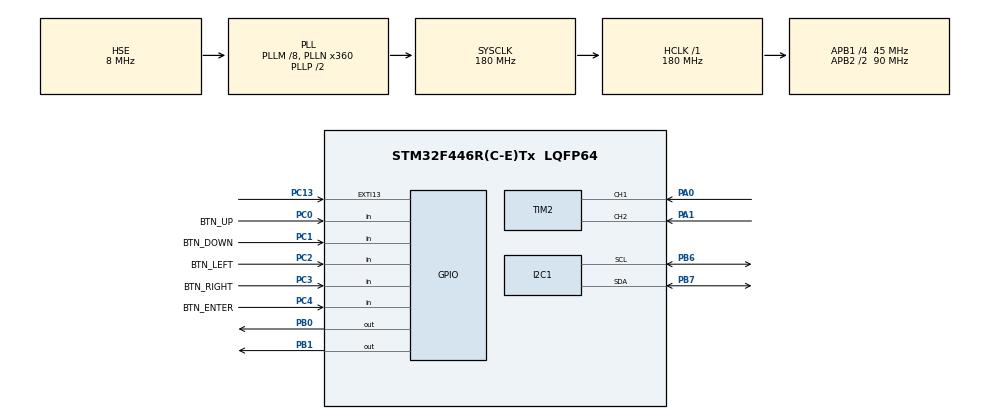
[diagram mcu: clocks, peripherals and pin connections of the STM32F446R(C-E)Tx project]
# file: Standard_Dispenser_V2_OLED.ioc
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I2C1.I2C_Mode=I2C_Fast
Mcu.Family=STM32F4
Mcu.Name=STM32F446R(C-E)Tx
Mcu.Package=LQFP64
NVIC.EXTI15_10_IRQn=true\:0\:0\:false\:false\:true\:true\:true\:true
NVIC.PriorityGroup=NVIC_PRIORITYGROUP_4
NVIC.TIM6_DAC_IRQn=true\:1\:0\:true\:false\:true\:true\:true\:true
PA0-WKUP.Signal=S_TIM2_CH1_ETR
PA1.Signal=S_TIM2_CH2
PA13.Mode=Serial_Wire
PA13.Signal=SYS_JTMS-SWDIO
PA14.Mode=Serial_Wire
PA14.Signal=SYS_JTCK-SWCLK
PB0.Signal=GPIO_Output
PB1.Signal=GPIO_Output
PB6.Mode=I2C
PB6.Signal=I2C1_SCL
PB7.Mode=I2C
PB7.Signal=I2C1_SDA
PC0.GPIO_Label=BTN_UP
PC0.GPIO_PuPd=GPIO_PULLUP
PC0.Signal=GPIO_Input
PC1.GPIO_Label=BTN_DOWN
PC1.GPIO_PuPd=GPIO_PULLUP
PC1.Signal=GPIO_Input
PC13.Signal=GPXTI13
PC2.GPIO_Label=BTN_LEFT
PC2.GPIO_PuPd=GPIO_PULLUP
PC2.Signal=GPIO_Input
PC3.GPIO_Label=BTN_RIGHT
PC3.GPIO_PuPd=GPIO_PULLUP
PC3.Signal=GPIO_Input
PC4.GPIO_Label=BTN_ENTER
PC4.GPIO_PuPd=GPIO_PULLUP
PC4.Signal=GPIO_Input
PH0-OSC_IN.Mode=HSE-External-Oscillator
PH0-OSC_IN.Signal=RCC_OSC_IN
PH1-OSC_OUT.Mode=HSE-External-Oscillator
PH1-OSC_OUT.Signal=RCC_OSC_OUT
ProjectManager.HeapSize=0x200
ProjectManager.StackSize=0x400
ProjectManager.TargetToolchain=STM32CubeIDE
RCC.AHBFreq_Value=180000000
RCC.APB1CLKDivider=RCC_HCLK_DIV4
RCC.APB1Freq_Value=45000000
RCC.APB1TimFreq_Value=90000000
RCC.APB2CLKDivider=RCC_HCLK_DIV2
RCC.APB2Freq_Value=90000000
RCC.APB2TimFreq_Value=180000000
RCC.CortexFreq_Value=180000000
RCC.HCLKFreq_Value=180000000
RCC.HSE_VALUE=8000000
RCC.PLLM=8
RCC.PLLN=360
RCC.PLLSourceVirtual=RCC_PLLSOURCE_HSE
RCC.SYSCLKFreq_VALUE=180000000
RCC.SYSCLKSource=RCC_SYSCLKSOURCE_PLLCLK
RCC.USBFreq_Value=180000000
RCC.VCOOutputFreq_Value=360000000
SH.S_TIM2_CH1_ETR.0=TIM2_CH1,Encoder_Interface
SH.S_TIM2_CH2.0=TIM2_CH2,Encoder_Interface
TIM2.EncoderMode=TIM_ENCODERMODE_TI12
TIM2.IC1Filter=10
TIM2.IC2Filter=10
TIM6.Period=9
TIM6.Prescaler=8999
VP_TIM6_VS_ClockSourceINT.Mode=Enable_Timer
board=custom

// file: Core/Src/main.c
/* USER CODE BEGIN Header */
/**
  ******************************************************************************
  * @file           : main.c
  * @brief          : Main program body
  ******************************************************************************
  * @attention
  *
  * Copyright (c) 2026 STMicroelectronics.
  * All rights reserved.
  *
  * This software is licensed under terms that can be found in the LICENSE file
  * in the root directory of this software component.
  * If no LICENSE file comes with this software, it is provided AS-IS.
  *
  ******************************************************************************
  */
/* USER CODE END Header */
#include "main.h"

/* USER CODE BEGIN Includes */
#include <stdio.h>
#include <stdlib.h>
#include <string.h>
#include "oled.h"
/* USER CODE END Includes */

/* USER CODE BEGIN PTD */
typedef enum { ST_IDLE, ST_JOG, ST_MOVING, ST_SETTLE, ST_COAST } run_state_t;
typedef enum { EVT_NONE, EVT_ARRIVED, EVT_STALL, EVT_ABORT } run_evt_t;

typedef struct {                 /* one editable number */
  const char *label;
  const char *unit;
  uint8_t  nd;                   /* number of digits shown while editing */
  uint8_t  dec;                  /* how many of them are after the decimal point */
  uint32_t val;                  /* value without the decimal point (30.00 mm -> 3000) */
  uint32_t minv;                 /* smallest value accepted when ENTER is pressed */
} field_t;
/* USER CODE END PTD */

/* USER CODE BEGIN PD */
#define IN1_HIGH()   HAL_GPIO_WritePin(GPIOB, GPIO_PIN_0, GPIO_PIN_SET)
#define IN1_LOW()    HAL_GPIO_WritePin(GPIOB, GPIO_PIN_0, GPIO_PIN_RESET)
#define IN2_HIGH()   HAL_GPIO_WritePin(GPIOB, GPIO_PIN_1, GPIO_PIN_SET)
#define IN2_LOW()    HAL_GPIO_WritePin(GPIOB, GPIO_PIN_1, GPIO_PIN_RESET)

#define MOTOR_TO_ZERO()  do { IN1_HIGH(); IN2_LOW();  } while (0)
#define MOTOR_TO_TOP()   do { IN1_LOW();  IN2_HIGH(); } while (0)
#define MOTOR_STOP()     do { IN1_LOW();  IN2_LOW();  } while (0)

#define COUNTS_PER_MM      780.6
#define MAX_COUNTS         61667     /* largest single dispense accepted */
#define MAX_TRAVEL_MM      75.0      /* above this -> OUT RANGE */
#define ERR_TOL            300       /* result is "ERR" if |actual - theory| is larger */
#define SHORT_MOVE_COUNTS  781       /* ~1 mm: shorter moves use brake offset 0 */
#define STILL_MS           500       /* stall time */
#define STILL_TOL          2
#define SETTLE_MS          300       /* wait after stopping before reading final count */
#define POS()              (-(int32_t)__HAL_TIM_GET_COUNTER(&htim2))  /* + toward top */

#define JOG_FWD   1
#define JOG_REV   2
#define JOG_STOP  3

#define B_UP      0x01
#define B_DOWN    0x02
#define B_LEFT    0x04
#define B_RIGHT   0x08
#define B_ENTER   0x10
#define DEBOUNCE_MS  20

#define PI_VAL    3.14159265358979
#define VALX      70                 /* x position of the values on the screen */
/* USER CODE END PD */

I2C_HandleTypeDef hi2c1;

TIM_HandleTypeDef htim2;
TIM_HandleTypeDef htim6;

/* USER CODE BEGIN PV */
/* ---- motion state machine (runs in the 1 kHz TIM6 interrupt) ---- */
static volatile run_state_t state = ST_IDLE;
static volatile run_evt_t   evt = EVT_NONE;
static volatile int32_t  evt_a = 0, evt_b = 0;
static volatile uint8_t  req_jog = 0, req_disp = 0, aborted = 0;
static volatile int32_t  req_delta = 0;
static volatile int32_t  target = 0, move_start = 0, brake_eff = 0;
static volatile int32_t  brake_offset = 495;   /* counts, used for moves >= 1 mm */
static volatile uint16_t still_ms = 0;
static int32_t  last_count = 0;

/* ---- buttons (debounced in the same interrupt) ---- */
static volatile uint8_t btn_evt = 0;           /* press events, cleared by main loop */
static volatile uint8_t btn_down = 0;          /* buttons currently held */
static volatile uint8_t jog_page = 0;          /* 1 while the JOG screen is shown */

/* ---- user interface ---- */
enum { F_SDIA, F_RBIG, F_RSML, F_VOL };
static field_t fld[4] = {
  { "SMALL DIA", "MM", 5, 2, 3000, 1 },        /* 30.00 mm */
  { "RATIO BIG", "",   2, 0,    1, 1 },        /* big : small = 1 : 1 */
  { "RATIO SML", "",   2, 0,    1, 1 },
  { "VOLUME",    "ML", 5, 2,  500, 1 },        /* 5.00 ml */
};
static uint8_t  page = 0;                      /* 0 SETUP, 1 DISPENSE, 2 JOG */
static uint8_t  sel[3] = {0, 0, 0};            /* selected row on every page */
static uint8_t  editing = 0, cursor = 0;       /* digit editing */
static volatile uint8_t ui_busy = 0;           /* a dispense is running */
static uint8_t  dirty = 1;                     /* screen needs a redraw */
static uint32_t last_draw = 0, busy_t0 = 0;
static char     status[24] = "READY";
static uint8_t  status_bad = 0;
static uint8_t  info_mode = 0;                 /* 0 = ACT/TOTAL lines, 1 = range error lines */
static int32_t  pend_theory = 0;
static double   area = 0.0;                    /* mm^2 of both bottles, set when dispense starts */
static uint32_t last_ul = 0, total_ul = 0;     /* microlitres (1 ml = 1000) */
static uint8_t  have_last = 0;
static uint32_t range_max_hund = 0, range_need_x10 = 0;
/* USER CODE END PV */

void SystemClock_Config(void);
static void MX_GPIO_Init(void);
static void MX_TIM2_Init(void);
static void MX_TIM6_Init(void);
static void MX_I2C1_Init(void);

/* USER CODE BEGIN 0 */

/* ====================== number formatting (no float printf) ====================== */
static const uint32_t P10[] = {1u, 10u, 100u, 1000u, 10000u, 100000u, 1000000u, 10000000u, 100000000u, 1000000000u};

/* zero padded: nd digits, decimal point before the last 'dec' digits ("030.00") */
static uint8_t fmt_pad(char *o, uint32_t v, uint8_t nd, uint8_t dec)
{
  char tmp[10];
  for (int i = nd - 1; i >= 0; i--) { tmp[i] = (char)('0' + (v % 10)); v /= 10; }
  uint8_t n = 0;
  for (uint8_t i = 0; i < nd; i++)
  {
    if (dec && i == nd - dec) o[n++] = '.';
    o[n++] = tmp[i];
  }
  o[n] = 0;
  return n;
}

/* plain number with 'dec' decimals, no leading zeros ("-12.34") */
static uint8_t fmt_dec(char *o, int32_t v, uint8_t dec)
{
  uint8_t n = 0;
  if (v < 0) { o[n++] = '-'; v = -v; }
  uint32_t ip = (uint32_t)v / P10[dec], fp = (uint32_t)v % P10[dec];
  char t[11];
  uint8_t k = 0;
  do { t[k++] = (char)('0' + (ip % 10)); ip /= 10; } while (ip);
  while (k) o[n++] = t[--k];
  if (dec)
  {
    o[n++] = '.';
    for (int i = dec - 1; i >= 0; i--) o[n++] = (char)('0' + ((fp / P10[i]) % 10));
  }
  o[n] = 0;
  return n;
}

/* ====================== buttons: called from the 1 kHz interrupt ====================== */
static uint8_t btn_raw(void)
{
  uint8_t m = 0;
  if (HAL_GPIO_ReadPin(BTN_UP_GPIO_Port,    BTN_UP_Pin)    == GPIO_PIN_RESET) m |= B_UP;
  if (HAL_GPIO_ReadPin(BTN_DOWN_GPIO_Port,  BTN_DOWN_Pin)  == GPIO_PIN_RESET) m |= B_DOWN;
  if (HAL_GPIO_ReadPin(BTN_LEFT_GPIO_Port,  BTN_LEFT_Pin)  == GPIO_PIN_RESET) m |= B_LEFT;
  if (HAL_GPIO_ReadPin(BTN_RIGHT_GPIO_Port, BTN_RIGHT_Pin) == GPIO_PIN_RESET) m |= B_RIGHT;
  if (HAL_GPIO_ReadPin(BTN_ENTER_GPIO_Port, BTN_ENTER_Pin) == GPIO_PIN_RESET) m |= B_ENTER;
  return m;
}

static void jog_update(void)         /* UP = forward, DOWN = retreat, release = stop */
{
  uint8_t d = btn_down;
  if ((d & B_UP) && !(d & B_DOWN))        req_jog = JOG_FWD;
  else if ((d & B_DOWN) && !(d & B_UP))   req_jog = JOG_REV;
  else                                    req_jog = JOG_STOP;
}

static void buttons_scan(void)
{
  static uint8_t cnt[5];
  uint8_t raw = btn_raw();
  for (uint8_t i = 0; i < 5; i++)
  {
    uint8_t bit = (uint8_t)(1u << i);
    if (((raw & bit) != 0) == ((btn_down & bit) != 0)) { cnt[i] = 0; continue; }
    if (++cnt[i] < DEBOUNCE_MS) continue;
    cnt[i] = 0;
    btn_down ^= bit;                                   /* debounced state changed */
    if (btn_down & bit)                                /* ---- pressed ---- */
    {
      btn_evt |= bit;
      if (state == ST_MOVING) req_jog = JOG_STOP;      /* any key aborts a running dispense */
      else if (jog_page && (bit & (B_UP | B_DOWN))) jog_update();
    }
    else if (jog_page && (bit & (B_UP | B_DOWN)))      /* ---- released ---- */
    {
      jog_update();
    }
  }
}

static uint8_t btn_take(void)        /* main loop: fetch and clear press events */
{
  __disable_irq();
  uint8_t e = btn_evt;
  btn_evt = 0;
  __enable_irq();
  return e;
}

/* ====================== maths (all on the STM32) ====================== */
static uint32_t rsml_safe(void) { return fld[F_RSML].val ? fld[F_RSML].val : 1; }

/* area of both bottles: pi/4 * (d_small^2 + d_big^2), d_big = d_small * ratio_big / ratio_small */
static double calc_area(void)
{
  double ds = fld[F_SDIA].val / 100.0;
  double db = ds * fld[F_RBIG].val / rsml_safe();
  return (PI_VAL / 4.0) * (ds * ds + db * db);
}

static void set_status(const char *s, uint8_t bad)
{
  strncpy(status, s, sizeof(status) - 1);
  status[sizeof(status) - 1] = 0;
  status_bad = bad;
}

static void do_dispense(void)
{
  info_mode = 0;
  if (state != ST_IDLE) { set_status("BUSY", 1); return; }

  area = calc_area();
  if (area < 0.001) { set_status("BAD DIA", 1); return; }

  double  h = (fld[F_VOL].val / 100.0) * 1000.0 / area;      /* V = area * h  ->  travel in mm */
  int32_t d = (int32_t)(h * COUNTS_PER_MM + 0.5);

  if (d < 1) { set_status("TOO SMALL", 1); return; }
  if (h > MAX_TRAVEL_MM || d > MAX_COUNTS)
  {
    range_max_hund = (uint32_t)(MAX_TRAVEL_MM * area / 10.0 + 0.5);   /* max ml x 100 */
    range_need_x10 = (uint32_t)(h * 10.0 + 0.5);                       /* needed mm x 10 */
    info_mode = 1;
    set_status("OUT RANGE", 1);
    return;
  }

  pend_theory = d;
  busy_t0 = HAL_GetTick();
  ui_busy = 1;
  set_status("MOVING", 0);
  req_delta = d;                       /* hand over to the interrupt */
  req_disp = 1;
}

static void process_event(void)       /* result of a move, produced by the interrupt */
{
  if (evt == EVT_NONE) return;
  run_evt_t e = evt;
  int32_t a = evt_a, b = evt_b;
  evt = EVT_NONE;

  int32_t actual = (e == EVT_STALL) ? (a - move_start) : (b - move_start);
  int32_t error  = actual - pend_theory;
  if (actual < 0) actual = 0;
  uint32_t ul = (uint32_t)(actual / COUNTS_PER_MM * area + 0.5);   /* mm^3 = microlitres */

  if (e == EVT_STALL)            set_status("STALLED", 1);
  else if (e == EVT_ABORT)       set_status("ABORTED", 1);
  else if (labs((long)error) > ERR_TOL)
  {
    snprintf(status, sizeof(status), "ERR %c%ld", error < 0 ? '-' : '+', (long)labs((long)error));
    status_bad = 1;
  }
  else                           set_status("REACHED", 0);

  last_ul = ul;
  have_last = 1;
  total_ul += ul;
  ui_busy = 0;
  info_mode = 0;
  dirty = 1;
}

static void ui_watchdog(void)         /* never stay "busy" forever */
{
  if (!ui_busy) return;
  uint32_t t = HAL_GetTick() - busy_t0;
  if (t > 50 && state == ST_IDLE && !req_disp && evt == EVT_NONE)      /* request was dropped (stop key) */
  {
    ui_busy = 0; set_status("ABORTED", 1); dirty = 1;
  }
  else if (t > 90000)                                                  /* no result after 90 s */
  {
    req_jog = JOG_STOP; ui_busy = 0; set_status("NO RESULT", 1); dirty = 1;
  }
}

/* ====================== drawing ====================== */
static void draw_header(const char *title)        /* top 16 rows = yellow band */
{
  oled_text(2, 1, title, 2, 1);
  for (uint8_t i = 0; i < 3; i++)                 /* page dots, filled = current page */
  {
    if (i == page) oled_rect(106 + 7 * i, 5, 4, 6, 1);
    else           oled_frame(106 + 7 * i, 5, 4, 6, 1);
  }
}

static void draw_field_row(int y, uint8_t fi, uint8_t selected)
{
  field_t *f = &fld[fi];
  char v[12];
  uint8_t n = fmt_pad(v, f->val, f->nd, f->dec);
  uint8_t edit_here = editing && selected;
  uint8_t inv = selected && !editing;
  uint8_t col = inv ? 0 : 1;

  if (inv) oled_rect(0, y, 128, 12, 1);
  oled_text(4, y + 2, f->label, 1, col);
  oled_text(VALX, y + 2, v, 1, col);
  if (f->unit[0]) oled_text(VALX + 6 * n + 4, y + 2, f->unit, 1, col);
  if (edit_here)
  {
    uint8_t ci = cursor + ((f->dec && cursor >= f->nd - f->dec) ? 1 : 0);   /* skip the '.' */
    char one[2] = { v[ci], 0 };
    oled_frame(0, y, 128, 12, 1);                                           /* row frame = edit mode */
    oled_text_inv(VALX + 6 * ci, y + 2, one, 1);                            /* digit being edited */
  }
}

static void draw_setup(void)
{
  for (uint8_t i = 0; i < 3; i++) draw_field_row(16 + 12 * i, i, sel[0] == i);

  char v[14];                                       /* big bottle diameter (calculated) */
  uint32_t bd = (uint32_t)(fld[F_SDIA].val * (double)fld[F_RBIG].val / rsml_safe() + 0.5);
  uint8_t n = fmt_dec(v, (int32_t)bd, 2);
  oled_text(4, 54, "BIG DIA", 1, 1);
  oled_text(VALX, 54, v, 1, 1);
  oled_text(VALX + 6 * n + 4, 54, "MM", 1, 1);
}

static void draw_dispense(void)
{
  char buf[24], num[14];

  draw_field_row(16, F_VOL, sel[1] == 0);

  const char *bl = ui_busy ? "STOP" : "DISPENSE";
  int w = oled_text_width(bl, 1) + 8;
  if (ui_busy || (sel[1] == 1 && !editing)) { oled_rect(3, 28, w, 11, 1); oled_text(7, 30, bl, 1, 0); }
  else                                      { oled_frame(3, 28, w, 11, 1); oled_text(7, 30, bl, 1, 1); }
  if (status_bad) oled_text_inv(65, 30, status, 1);
  else            oled_text(65, 30, status, 1, 1);

  if (ui_busy)                                      /* progress bar */
  {
    int32_t span = target - move_start, done = POS() - move_start;
    int fill = (span > 0) ? (int)(done * 118.0 / span) : 0;
    if (fill < 0) fill = 0;
    if (fill > 118) fill = 118;
    oled_frame(4, 42, 120, 8, 1);
    oled_rect(5, 43, fill, 6, 1);
  }
  else if (info_mode == 1)
  {
    fmt_dec(num, (int32_t)range_max_hund, 2);
    snprintf(buf, sizeof(buf), "MAX %s ML", num);
    oled_text(4, 42, buf, 1, 1);
  }
  else if (have_last)
  {
    fmt_dec(num, (int32_t)last_ul, 3);
    snprintf(buf, sizeof(buf), "ACT %s ML", num);
    oled_text(4, 42, buf, 1, 1);
  }
  else oled_text(4, 42, "ACT --- ML", 1, 1);

  if (info_mode == 1 && !ui_busy)
  {
    fmt_dec(num, (int32_t)range_need_x10, 1);
    snprintf(buf, sizeof(buf), "NEED %s MM", num);
  }
  else
  {
    fmt_dec(num, (int32_t)total_ul, 3);
    snprintf(buf, sizeof(buf), "TOTAL %s ML", num);
  }
  oled_text(4, 54, buf, 1, 1);
}

static void draw_jog(void)
{
  uint8_t d = btn_down;
  if (d & B_UP)   oled_text_inv(4, 18, "UP   : FORWARD", 1); else oled_text(4, 18, "UP   : FORWARD", 1, 1);
  if (d & B_DOWN) oled_text_inv(4, 29, "DOWN : RETREAT", 1); else oled_text(4, 29, "DOWN : RETREAT", 1, 1);

  double mm100 = (double)POS() * 100.0 / COUNTS_PER_MM;            /* position in mm x 100 */
  int32_t v = (int32_t)(mm100 >= 0 ? mm100 + 0.5 : mm100 - 0.5);
  char buf[14];
  uint8_t n = fmt_dec(buf, v, 2);
  oled_text(4, 41, buf, 2, 1);
  oled_text(4 + 12 * n + 4, 48, "MM", 1, 1);
  oled_text(4, 56, "ENTER: ZERO POS", 1, 1);
}

static void draw_ui(void)
{
  static const char *titles[3] = { "SETUP", "DISPENSE", "JOG" };
  oled_clear();
  draw_header(titles[page]);
  if (page == 0)      draw_setup();
  else if (page == 1) draw_dispense();
  else                draw_jog();
  oled_flush();
}

static void draw_splash(void)
{
  oled_clear();
  oled_text(16, 1, "ADHESIVE", 2, 1);
  oled_text(10, 24, "DISPENSER", 2, 1);
  oled_text(19, 50, "LINEAR ACTUATOR", 1, 1);
  oled_flush();
}

/* ====================== button handling (menu logic) ====================== */
static field_t *cur_field(void) { return (page == 0) ? &fld[sel[0]] : &fld[F_VOL]; }

static void change_page(int dir)
{
  if (page == 2) req_jog = JOG_STOP;               /* never leave the actuator running */
  page = (uint8_t)((page + 3 + dir) % 3);
  jog_page = (page == 2);
}

static void ui_key(uint8_t b)
{
  if (ui_busy) return;                             /* (the interrupt already aborted the move) */
  dirty = 1;

  if (editing)                                     /* ---- editing a number ---- */
  {
    field_t *f = cur_field();
    uint32_t place = P10[f->nd - 1 - cursor];
    uint32_t dg = (f->val / place) % 10;
    switch (b)
    {
      case B_LEFT:  if (cursor > 0)         cursor--; break;
      case B_RIGHT: if (cursor < f->nd - 1) cursor++; break;
      case B_UP:    f->val = f->val - dg * place + ((dg + 1) % 10) * place; break;
      case B_DOWN:  f->val = f->val - dg * place + ((dg + 9) % 10) * place; break;
      case B_ENTER: if (f->val < f->minv) f->val = f->minv; editing = 0; break;
    }
    return;
  }

  switch (b)                                       /* ---- browsing ---- */
  {
    case B_LEFT:  change_page(-1); break;
    case B_RIGHT: change_page(+1); break;
    case B_UP:
    case B_DOWN:
    {
      uint8_t n = (page == 0) ? 3 : (page == 1) ? 2 : 0;
      if (n) sel[page] = (b == B_UP) ? (uint8_t)((sel[page] + n - 1) % n) : (uint8_t)((sel[page] + 1) % n);
      break;
    }
    case B_ENTER:
      if (page == 0 || (page == 1 && sel[1] == 0)) { editing = 1; cursor = 0; set_status("READY", 0); info_mode = 0; }
      else if (page == 1)                          do_dispense();
      else if (state == ST_IDLE)                   __HAL_TIM_SET_COUNTER(&htim2, 0);   /* zero the position display */
      break;
  }
}
/* USER CODE END 0 */

int main(void)
{

  /* MCU Configuration--------------------------------------------------------*/

  /* Reset of all peripherals, Initializes the Flash interface and the Systick. */
  HAL_Init();

  /* Configure the system clock */
  SystemClock_Config();

  /* Initialize all configured peripherals */
  MX_GPIO_Init();
  MX_TIM2_Init();
  MX_TIM6_Init();
  MX_I2C1_Init();
  /* USER CODE BEGIN 2 */
  MOTOR_STOP();
  HAL_TIM_Encoder_Start(&htim2, TIM_CHANNEL_ALL);
  __HAL_TIM_SET_COUNTER(&htim2, 0);          /* power-on position = 0 */
  oled_init(&hi2c1);
  draw_splash();
  HAL_Delay(1500);
  HAL_TIM_Base_Start_IT(&htim6);             /* 1 kHz: buttons + motion state machine */
  /* USER CODE END 2 */

  /* Infinite loop */
  while (1)
  {

    /* USER CODE BEGIN 3 */
	    process_event();

	    uint8_t be = btn_take();
	    for (uint8_t i = 0; i < 5; i++)
	      if (be & (1u << i)) ui_key((uint8_t)(1u << i));

	    ui_watchdog();

	    uint32_t now = HAL_GetTick();
	    if (dirty || ((ui_busy || page == 2) && (now - last_draw) >= 100))   /* live progress / position */
	    {
	      dirty = 0;
	      last_draw = now;
	      draw_ui();
	    }
  }
  /* USER CODE END 3 */
}

void SystemClock_Config(void)
{
  RCC_OscInitTypeDef RCC_OscInitStruct = {0};
  RCC_ClkInitTypeDef RCC_ClkInitStruct = {0};

  /** Configure the main internal regulator output voltage
  */
  __HAL_RCC_PWR_CLK_ENABLE();
  __HAL_PWR_VOLTAGESCALING_CONFIG(PWR_REGULATOR_VOLTAGE_SCALE1);

  /** Initializes the RCC Oscillators according to the specified parameters
  * in the RCC_OscInitTypeDef structure.
  */
  RCC_OscInitStruct.OscillatorType = RCC_OSCILLATORTYPE_HSE;
  RCC_OscInitStruct.HSEState = RCC_HSE_ON;
  RCC_OscInitStruct.PLL.PLLState = RCC_PLL_ON;
  RCC_OscInitStruct.PLL.PLLSource = RCC_PLLSOURCE_HSE;
  RCC_OscInitStruct.PLL.PLLM = 8;
  RCC_OscInitStruct.PLL.PLLN = 360;
  RCC_OscInitStruct.PLL.PLLP = RCC_PLLP_DIV2;
  RCC_OscInitStruct.PLL.PLLQ = 2;
  RCC_OscInitStruct.PLL.PLLR = 2;
  if (HAL_RCC_OscConfig(&RCC_OscInitStruct) != HAL_OK)
  {
    Error_Handler();
  }

  /** Activate the Over-Drive mode
  */
  if (HAL_PWREx_EnableOverDrive() != HAL_OK)
  {
    Error_Handler();
  }

  /** Initializes the CPU, AHB and APB buses clocks
  */
  RCC_ClkInitStruct.ClockType = RCC_CLOCKTYPE_HCLK|RCC_CLOCKTYPE_SYSCLK
                              |RCC_CLOCKTYPE_PCLK1|RCC_CLOCKTYPE_PCLK2;
  RCC_ClkInitStruct.SYSCLKSource = RCC_SYSCLKSOURCE_PLLCLK;
  RCC_ClkInitStruct.AHBCLKDivider = RCC_SYSCLK_DIV1;
  RCC_ClkInitStruct.APB1CLKDivider = RCC_HCLK_DIV4;
  RCC_ClkInitStruct.APB2CLKDivider = RCC_HCLK_DIV2;

  if (HAL_RCC_ClockConfig(&RCC_ClkInitStruct, FLASH_LATENCY_5) != HAL_OK)
  {
    Error_Handler();
  }
}

static void MX_I2C1_Init(void)
{

  hi2c1.Instance = I2C1;
  hi2c1.Init.ClockSpeed = 400000;
  hi2c1.Init.DutyCycle = I2C_DUTYCYCLE_2;
  hi2c1.Init.OwnAddress1 = 0;
  hi2c1.Init.AddressingMode = I2C_ADDRESSINGMODE_7BIT;
  hi2c1.Init.DualAddressMode = I2C_DUALADDRESS_DISABLE;
  hi2c1.Init.OwnAddress2 = 0;
  hi2c1.Init.GeneralCallMode = I2C_GENERALCALL_DISABLE;
  hi2c1.Init.NoStretchMode = I2C_NOSTRETCH_DISABLE;
  if (HAL_I2C_Init(&hi2c1) != HAL_OK)
  {
    Error_Handler();
  }

}

static void MX_TIM2_Init(void)
{

  TIM_Encoder_InitTypeDef sConfig = {0};
  TIM_MasterConfigTypeDef sMasterConfig = {0};

  htim2.Instance = TIM2;
  htim2.Init.Prescaler = 0;
  htim2.Init.CounterMode = TIM_COUNTERMODE_UP;
  htim2.Init.Period = 4294967295;
  htim2.Init.ClockDivision = TIM_CLOCKDIVISION_DIV1;
  htim2.Init.AutoReloadPreload = TIM_AUTORELOAD_PRELOAD_DISABLE;
  sConfig.EncoderMode = TIM_ENCODERMODE_TI12;
  sConfig.IC1Polarity = TIM_ICPOLARITY_RISING;
  sConfig.IC1Selection = TIM_ICSELECTION_DIRECTTI;
  sConfig.IC1Prescaler = TIM_ICPSC_DIV1;
  sConfig.IC1Filter = 10;
  sConfig.IC2Polarity = TIM_ICPOLARITY_RISING;
  sConfig.IC2Selection = TIM_ICSELECTION_DIRECTTI;
  sConfig.IC2Prescaler = TIM_ICPSC_DIV1;
  sConfig.IC2Filter = 10;
  if (HAL_TIM_Encoder_Init(&htim2, &sConfig) != HAL_OK)
  {
    Error_Handler();
  }
  sMasterConfig.MasterOutputTrigger = TIM_TRGO_RESET;
  sMasterConfig.MasterSlaveMode = TIM_MASTERSLAVEMODE_DISABLE;
  if (HAL_TIMEx_MasterConfigSynchronization(&htim2, &sMasterConfig) != HAL_OK)
  {
    Error_Handler();
  }

}

static void MX_TIM6_Init(void)
{

  TIM_MasterConfigTypeDef sMasterConfig = {0};

  htim6.Instance = TIM6;
  htim6.Init.Prescaler = 8999;
  htim6.Init.CounterMode = TIM_COUNTERMODE_UP;
  htim6.Init.Period = 9;
  htim6.Init.AutoReloadPreload = TIM_AUTORELOAD_PRELOAD_DISABLE;
  if (HAL_TIM_Base_Init(&htim6) != HAL_OK)
  {
    Error_Handler();
  }
  sMasterConfig.MasterOutputTrigger = TIM_TRGO_RESET;
  sMasterConfig.MasterSlaveMode = TIM_MASTERSLAVEMODE_DISABLE;
  if (HAL_TIMEx_MasterConfigSynchronization(&htim6, &sMasterConfig) != HAL_OK)
  {
    Error_Handler();
  }

}

static void MX_GPIO_Init(void)
{
  GPIO_InitTypeDef GPIO_InitStruct = {0};

  /* GPIO Ports Clock Enable */
  __HAL_RCC_GPIOC_CLK_ENABLE();
  __HAL_RCC_GPIOH_CLK_ENABLE();
  __HAL_RCC_GPIOA_CLK_ENABLE();
  __HAL_RCC_GPIOB_CLK_ENABLE();

  /*Configure GPIO pin Output Level */
  HAL_GPIO_WritePin(GPIOB, GPIO_PIN_0|GPIO_PIN_1, GPIO_PIN_RESET);

  /*Configure GPIO pin : PC13 */
  GPIO_InitStruct.Pin = GPIO_PIN_13;
  GPIO_InitStruct.Mode = GPIO_MODE_IT_RISING;
  GPIO_InitStruct.Pull = GPIO_NOPULL;
  HAL_GPIO_Init(GPIOC, &GPIO_InitStruct);

  /*Configure GPIO pins : BTN_UP_Pin BTN_DOWN_Pin BTN_LEFT_Pin BTN_RIGHT_Pin
                           BTN_ENTER_Pin */
  GPIO_InitStruct.Pin = BTN_UP_Pin|BTN_DOWN_Pin|BTN_LEFT_Pin|BTN_RIGHT_Pin
                          |BTN_ENTER_Pin;
  GPIO_InitStruct.Mode = GPIO_MODE_INPUT;
  GPIO_InitStruct.Pull = GPIO_PULLUP;
  HAL_GPIO_Init(GPIOC, &GPIO_InitStruct);

  /*Configure GPIO pins : PB0 PB1 */
  GPIO_InitStruct.Pin = GPIO_PIN_0|GPIO_PIN_1;
  GPIO_InitStruct.Mode = GPIO_MODE_OUTPUT_PP;
  GPIO_InitStruct.Pull = GPIO_NOPULL;
  GPIO_InitStruct.Speed = GPIO_SPEED_FREQ_LOW;
  HAL_GPIO_Init(GPIOB, &GPIO_InitStruct);

  /* EXTI interrupt init*/
  HAL_NVIC_SetPriority(EXTI15_10_IRQn, 0, 0);
  HAL_NVIC_EnableIRQ(EXTI15_10_IRQn);

}

/* USER CODE BEGIN 4 */
static void start_move(int32_t tgt, int32_t p)
{
  target = tgt;
  move_start = p;
  last_count = p;
  still_ms = 0;
  aborted = 0;
  brake_eff = ((tgt - p) >= SHORT_MOVE_COUNTS) ? brake_offset : 0;  /* <1 mm: no offset */
  if ((tgt - brake_eff) <= p) { state = ST_SETTLE; return; }
  MOTOR_TO_TOP();
  state = ST_MOVING;
}

void HAL_GPIO_EXTI_Callback(uint16_t GPIO_Pin)      /* B1 on the board = emergency stop */
{
  static uint32_t last_press = 0;
  if (GPIO_Pin == GPIO_PIN_13)
  {
    uint32_t now = HAL_GetTick();
    if ((now - last_press) > 300) { last_press = now; req_jog = JOG_STOP; }
  }
}

void HAL_TIM_PeriodElapsedCallback(TIM_HandleTypeDef *htim)   /* 1 kHz */
{
  if (htim->Instance != TIM6) return;
  int32_t p = POS();

  buttons_scan();

  if (req_jog)                       /* F/R/S win over everything, in every state */
  {
    uint8_t j = req_jog;
    req_jog = 0;
    req_disp = 0;                    /* drop any dispense that was queued */
    if (j == JOG_FWD)      { MOTOR_TO_TOP();  state = ST_JOG; }
    else if (j == JOG_REV) { MOTOR_TO_ZERO(); state = ST_JOG; }
    else
    {
      MOTOR_STOP();
      last_count = p;
      still_ms = 0;
      if (state == ST_MOVING)      { aborted = 1; state = ST_SETTLE; }   /* report how far it got */
      else if (state != ST_SETTLE) { state = ST_COAST; }
    }
    return;
  }

  switch (state)
  {
    case ST_IDLE:
      if (req_disp) { req_disp = 0; start_move(p + req_delta, p); }  /* relative to NOW */
      break;

    case ST_JOG:                     /* no stall check: runs until released */
      break;

    case ST_COAST:                   /* wait for the coast to end before the next move */
      if (abs(p - last_count) <= STILL_TOL) still_ms++; else { still_ms = 0; last_count = p; }
      if (still_ms >= SETTLE_MS) state = ST_IDLE;
      break;

    case ST_MOVING:
      if (p >= target - brake_eff)
      {
        MOTOR_STOP();
        last_count = p;
        still_ms = 0;
        state = ST_SETTLE;
      }
      else
      {
        if (abs(p - last_count) <= STILL_TOL) still_ms++; else { still_ms = 0; last_count = p; }
        if (still_ms >= STILL_MS)
        {
          MOTOR_STOP();
          evt_a = p;
          evt = EVT_STALL;
          state = ST_IDLE;
        }
      }
      break;

    case ST_SETTLE:
      if (abs(p - last_count) <= STILL_TOL) still_ms++; else { still_ms = 0; last_count = p; }
      if (still_ms >= SETTLE_MS)
      {
        evt_a = target;
        evt_b = p;
        evt = aborted ? EVT_ABORT : EVT_ARRIVED;
        aborted = 0;
        state = ST_IDLE;
      }
      break;
  }
}
/* USER CODE END 4 */

void Error_Handler(void)
{
  __disable_irq();
  while (1)
  {
  }
}
